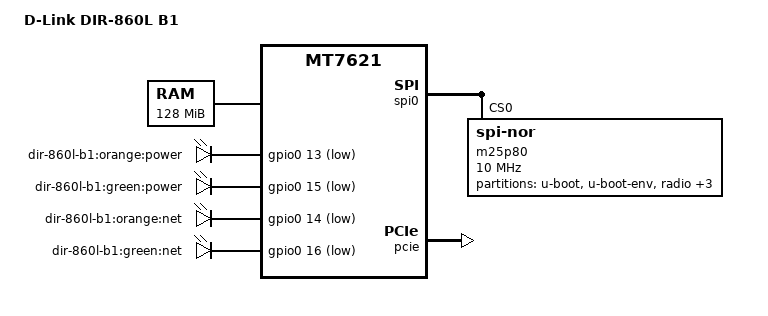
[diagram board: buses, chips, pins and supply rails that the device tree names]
/dts-v1/;

#include "mt7621.dtsi"

/ {
	compatible = "ralink,mt7621-eval-board", "ralink,mt7621-soc";
	model = "D-Link DIR-860L B1";

	memory@0 {
		device_type = "memory";
		reg = <0x0 0x8000000>;
	};

	chosen {
		bootargs = "console=ttyS0,57600";
	};

	gpio-leds {
		compatible = "gpio-leds";

		power {
			label = "dir-860l-b1:orange:power";
			gpios = <&gpio0 13 1>;
		};

		power2 {
			label = "dir-860l-b1:green:power";
			gpios = <&gpio0 15 1>;
		};

		net {
			label = "dir-860l-b1:orange:net";
			gpios = <&gpio0 14 1>;
		};

		net2 {
			label = "dir-860l-b1:green:net";
			gpios = <&gpio0 16 1>;
		};
	};

	gpio-keys-polled {
		compatible = "gpio-keys-polled";
		#address-cells = <1>;
		#size-cells = <0>;
		poll-interval = <20>;
	};
};

&spi0 {
	status = "okay";

	m25p80@0 {
		#address-cells = <1>;
		#size-cells = <1>;
		compatible = "jedec,spi-nor";
		reg = <0>;
		linux,modalias = "m25p80";
		spi-max-frequency = <10000000>;

		partition@0 {
			label = "u-boot";
			reg = <0x0 0x30000>;
			read-only;
		};

		partition@30000 {
			label = "u-boot-env";
			reg = <0x30000 0x4000>;
			read-only;
		};

		radio: partition@34000 {
			label = "radio";
			reg = <0x34000 0x4000>;
			read-only;
		};

		factory: partition@38000 {
			label = "factory";
			reg = <0x38000 0x8000>;
			read-only;
		};

		partition@40000 {
			label = "defaults";
			reg = <0x40000 0x10000>;
			read-only;
		};

		partition@50000 {
			label = "firmware";
			reg = <0x50000 0xfb0000>;
		};
	};
};

&pcie {
	status = "okay";

	pcie0 {
		mt76@0,0 {
			reg = <0x0000 0 0 0 0>;
			device_type = "pci";
			mediatek,mtd-eeprom = <&radio 0x2000>;
			mediatek,2ghz = <0>;
		};
	};

	pcie1 {
		mt76@1,0 {
			reg = <0x0000 0 0 0 0>;
			device_type = "pci";
			mediatek,mtd-eeprom = <&radio 0>;
			mediatek,5ghz = <0>;
		};
	};
};

&pinctrl {
	state_default: pinctrl0 {
		gpio {
			ralink,group = "i2c", "uart2", "uart3", "rgmii2", "sdhci";
			ralink,function = "gpio";
		};
	};
};
